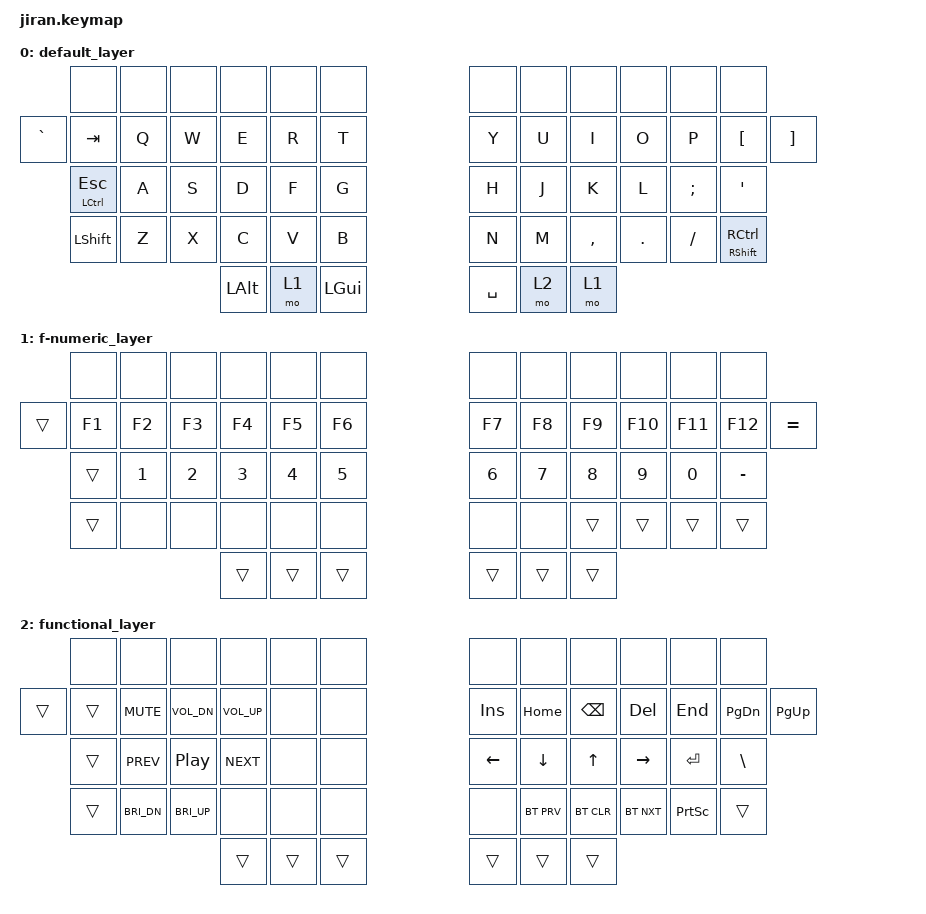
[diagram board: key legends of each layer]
/*
 * Copyright (c) 2021 The ZMK Contributors
 *
 * SPDX-License-Identifier: MIT
 */

#include <behaviors.dtsi>
#include <dt-bindings/zmk/keys.h>
#include <dt-bindings/zmk/bt.h>

/ {
        keymap {
                compatible = "zmk,keymap";

                default_layer {
                        bindings = <
              &none         &none  &none  &none    &none  &none                           &none     &none  &none     &none   &none     &none
  &kp GRAVE   &kp TAB       &kp Q  &kp W  &kp E    &kp R  &kp T                           &kp Y     &kp U  &kp I     &kp O   &kp P     &kp LBKT     &kp RBKT
              &mt LCTRL ESC &kp A  &kp S  &kp D    &kp F  &kp G                           &kp H     &kp J  &kp K     &kp L   &kp SEMI  &kp SQT
              &kp LSHIFT    &kp Z  &kp X  &kp C    &kp V  &kp B                           &kp N     &kp M  &kp COMMA &kp DOT &kp FSLH  &mt RSHIFT RCTRL
                                          &kp LALT &mo 1  &kp LGUI                        &kp SPACE &mo 2  &mo 1
                        >;
                };

                f-numeric_layer {
                       bindings = <
           &none    &none    &none    &none   &none    &none                       &none    &none   &none    &none    &none    &none
  &trans   &kp F1   &kp F2   &kp F3   &kp F4  &kp F5   &kp F6                      &kp F7   &kp F8  &kp F9   &kp F10  &kp F11  &kp F12     &kp EQUAL
           &trans   &kp N1   &kp N2   &kp N3  &kp N4   &kp N5                      &kp N6   &kp N7  &kp N8   &kp N9   &kp N0   &kp MINUS
           &trans   &none    &none    &none   &none    &none                       &none    &none   &trans   &trans   &trans   &trans
                                      &trans  &trans   &trans                      &trans   &trans  &trans
                       >;
                };

                functional_layer {
                       bindings = <
           &none    &none        &none        &none        &none    &none          &none    &none      &none      &none      &none     &none
  &trans   &trans   &kp C_MUTE   &kp C_VOL_DN &kp C_VOL_UP &none    &none          &kp INS  &kp HOME   &kp BSPC   &kp DEL    &kp END   &kp PG_DN &kp PG_UP
           &trans   &kp C_PREV   &kp C_PP     &kp C_NEXT   &none    &none          &kp LEFT &kp DOWN   &kp UP     &kp RIGHT  &kp RET   &kp BSLH
           &trans   &kp C_BRI_DN &kp C_BRI_UP &none        &none    &none          &none    &bt BT_PRV &bt BT_CLR &bt BT_NXT &kp PSCRN &trans
                                              &trans       &trans   &trans         &trans   &trans     &trans
                       >;
                };
        };
};
